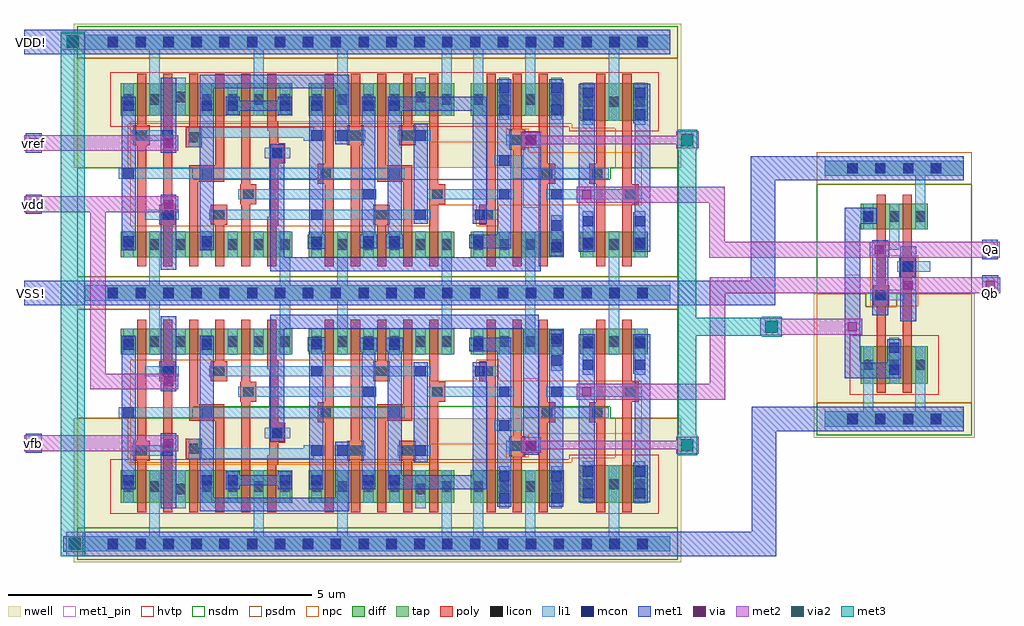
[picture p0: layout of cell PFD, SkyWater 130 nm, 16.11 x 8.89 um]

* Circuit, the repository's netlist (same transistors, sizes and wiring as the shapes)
* +++++++++++++++++++++++++++++++++++++++++++++++++++++ *
* CDL Netlist:                                          *
*                                                       *
* Cell Name  : PFD                                      *
* Netlisted  : Sun Jun 21 17:42:44 2026                 *
* PVS Version: 16.10-p006 Thu Jul 27 18:05:02 PDT 2017 *
* +++++++++++++++++++++++++++++++++++++++++++++++++++++ *
*.LDD
*.DEVTMPLT 0 R(res_generic_m1) met1_res met1(P) met1(N)
*.DEVTMPLT 1 R(res_generic_m2) met2_res met2(P) met2(N)
*.DEVTMPLT 2 R(res_generic_m3) met3_res met3(P) met3(N)
*.DEVTMPLT 3 R(res_generic_m4) met4_res met4(P) met4(N)
*.DEVTMPLT 4 R(res_generic_m5) met5_res met5(P) met5(N)
*.DEVTMPLT 5 D(diode_pd2nw_05v5) diode_pd2nw_05v5_rec psd(PLUS) nwell(MINUS)
*.DEVTMPLT 6 D(diode_pd2nw_05v5_hvt) diode_pd2nw_05v5_hvt_rec psd(PLUS) nwell(MINUS)
*.DEVTMPLT 7 D(diode_pd2nw_05v5_lvt) diode_pd2nw_05v5_lvt_rec psd(PLUS) nwell(MINUS)
*.DEVTMPLT 8 D(diode_pd2nw_11v0) diode_pd2nw_11v0_rec psd(PLUS) nwell(MINUS)
*.DEVTMPLT 9 D(diode_pw2nd_05v5) diode_pw2nd_05v5_rec pwell_all(PLUS) nsd(MINUS)
*.DEVTMPLT 10 D(diode_pw2nd_05v5_lvt) diode_pw2nd_05v5_lvt_rec pwell_all(PLUS) nsd(MINUS)
*.DEVTMPLT 11 D(diode_pw2nd_05v5_nvt) diode_pw2nd_05v5_nvt_rec pwell_all(PLUS) nsd(MINUS)
*.DEVTMPLT 12 D(diode_pw2nd_11v0) diode_pw2nd_11v0_rec pwell_all(PLUS) nsd(MINUS)
*.DEVTMPLT 0 R(RES_GENERIC_ND) diff_res np_term(P) np_term(N)
*.DEVTMPLT 1 R(RES_GENERIC_PD) diff_res pp_term(P) pp_term(N)
*.DEVTMPLT 15 MN(nfet_01v8) nfet_01v8_rec nSourceDrain(D) nfet(G) nSourceDrain(S) pwell_all(B)
*.DEVTMPLT 16 MP(pfet_01v8) pfet_01v8_rec pSourceDrain(D) pfet(G) pSourceDrain(S) nwell(B)
*.DEVTMPLT 17 MP(pfet_01v8_lvt) lvtpfet_01v8_rec pSourceDrain(D) lvtpfet(G) pSourceDrain(S) nwell(B)
*.DEVTMPLT 18 MN(nfet_01v8_lvt) lvtnfet_01v8_rec nSourceDrain(D) lvtnfet(G) nSourceDrain(S) pwell_all(B)
*.DEVTMPLT 19 MP(pfet_01v8_hvt) hvtpfet_01v8_rec pSourceDrain(D) hvtpfet(G) pSourceDrain(S) nwell(B)
*.DEVTMPLT 20 MN(nfet_03v3_nvt) HV_ngate_3v3 HV_source_drain(D) HV_FET_gate(G) HV_source_drain(S) pwell_all(B)
*.DEVTMPLT 21 MN(nfet_05v0_nvt) HV_ngate_5v0 HV_source_drain(D) HV_FET_gate(G) HV_source_drain(S) pwell_all(B)
*.DEVTMPLT 22 MN(nfet_g5v0d10v5) HV_ngate_5v10v HV_source_drain(D) HV_FET_gate(G) HV_source_drain(S) pwell_all(B)
*.DEVTMPLT 23 MP(pfet_g5v0d10v5) HV_pgate_5v10v HV_source_drain(D) HV_FET_gate(G) HV_source_drain(S) nwell(B)
*.DEVTMPLT 24 MN(nfet_20v0) nfet_v20_rec nfet_v20_drain(D) nfet_v20_gate(G) nfet_v20_source(S) pwell_all(B)
*.DEVTMPLT 25 MN(nfet_20v0_zvt) nfet_v20_zvt_rec nfet_v20_drain(D) nfet_v20_gate(G) nfet_v20_source(S) pwell_all(B)
*.DEVTMPLT 26 MP(pfet_20v0) pfet_v20_rec pfet_v20_drain(D) pfet_v20_gate(G) pfet_v20_source(S) nwell(B)
*.DEVTMPLT 27 Q(npn_05v5) npn_rec npnC(C) npnB(B) npnE(E) pwell_all(BN)
*.DEVTMPLT 28 Q(npn_11v0) hvnpn_rec npnC(C) npnB(B) hvnpnE(E) pwell_all(BN)
*.DEVTMPLT 29 Q(pnp_05v5) pnp_rec pnpC(C) pnpB(B) pnpE(E) pwell_all(BN)
*.DEVTMPLT 30 R(res_high_po_0p35) res_high_po_0p35_rec prec_resistor_term(PLUS) prec_resistor_term(MINUS) pwell_all(B)
*.DEVTMPLT 31 R(res_high_po_0p69) res_high_po_0p69_rec prec_resistor_term(PLUS) prec_resistor_term(MINUS) pwell_all(B)
*.DEVTMPLT 32 R(res_high_po_1p41) res_high_po_1p41_rec prec_resistor_term(PLUS) prec_resistor_term(MINUS) pwell_all(B)
*.DEVTMPLT 33 R(res_high_po_2p85) res_high_po_2p85_rec prec_resistor_term(PLUS) prec_resistor_term(MINUS) pwell_all(B)
*.DEVTMPLT 34 R(res_high_po_5p73) res_high_po_5p73_rec prec_resistor_term(PLUS) prec_resistor_term(MINUS) pwell_all(B)
*.DEVTMPLT 35 R(res_xhigh_po_0p35) res_xhigh_po_0p35_rec prec_resistor_term(PLUS) prec_resistor_term(MINUS) pwell_all(B)
*.DEVTMPLT 36 R(res_xhigh_po_0p69) res_xhigh_po_0p69_rec prec_resistor_term(PLUS) prec_resistor_term(MINUS) pwell_all(B)
*.DEVTMPLT 37 R(res_xhigh_po_1p41) res_xhigh_po_1p41_rec prec_resistor_term(PLUS) prec_resistor_term(MINUS) pwell_all(B)
*.DEVTMPLT 38 R(res_xhigh_po_2p85) res_xhigh_po_2p85_rec prec_resistor_term(PLUS) prec_resistor_term(MINUS) pwell_all(B)
*.DEVTMPLT 39 R(res_xhigh_po_5p73) res_xhigh_po_5p73_rec prec_resistor_term(PLUS) prec_resistor_term(MINUS) pwell_all(B)
*.DEVTMPLT 40 C(cap_mim_m3__base) capacitor top_plate(PLUS) bottom_plate(MINUS)

* +++++++++++++++++++++++++++++++++++++++++++++++++++++ *
* Sub cell: DFFRX1_LP                                   *
* +++++++++++++++++++++++++++++++++++++++++++++++++++++ *
.subckt DFFRX1_LP CK RN D VDD VSS Q QN
** N=120 EP=7 FDC=32
M0 VSS CK 48 VSS nfet_01v8 L=1.5e-07 W=4.2e-07 $X=860 $Y=590 $dt=15
M1 28 D VSS VSS nfet_01v8 L=1.5e-07 W=4.2e-07 $X=1290 $Y=590 $dt=15
M2 50 48 28 VSS nfet_01v8 L=1.5e-07 W=4.2e-07 $X=1720 $Y=590 $dt=15
M3 32 42 50 VSS nfet_01v8 L=1.5e-07 W=4.2e-07 $X=2150 $Y=590 $dt=15
M4 34 45 32 VSS nfet_01v8 L=1.5e-07 W=4.2e-07 $X=2580 $Y=590 $dt=15
M5 VSS RN 34 VSS nfet_01v8 L=1.5e-07 W=4.2e-07 $X=3010 $Y=590 $dt=15
M6 VSS 48 42 VSS nfet_01v8 L=1.5e-07 W=4.2e-07 $X=3960 $Y=590 $dt=15
M7 45 50 VSS VSS nfet_01v8 L=1.5e-07 W=4.2e-07 $X=4390 $Y=590 $dt=15
M8 56 42 45 VSS nfet_01v8 L=1.5e-07 W=4.2e-07 $X=4820 $Y=590 $dt=15
M9 36 48 56 VSS nfet_01v8 L=1.5e-07 W=4.2e-07 $X=5250 $Y=590 $dt=15
M10 VSS 54 36 VSS nfet_01v8 L=1.5e-07 W=4.2e-07 $X=5680 $Y=590 $dt=15
M11 66 56 54 VSS nfet_01v8 L=1.5e-07 W=4.2e-07 $X=6630 $Y=590 $dt=15
M12 VSS RN 66 VSS nfet_01v8 L=1.5e-07 W=4.2e-07 $X=7060 $Y=590 $dt=15
M13 61 54 VSS VSS nfet_01v8 L=1.5e-07 W=4.2e-07 $X=7490 $Y=590 $dt=15
M14 VSS 54 Q VSS nfet_01v8 L=1.5e-07 W=4.2e-07 $X=8440 $Y=590 $dt=15
M15 QN 61 VSS VSS nfet_01v8 L=1.5e-07 W=4.2e-07 $X=8870 $Y=590 $dt=15
M16 VDD CK 48 VDD pfet_01v8_hvt L=1.5e-07 W=5.4e-07 $X=860 $Y=2925 $dt=19
M17 30 D VDD VDD pfet_01v8_hvt L=1.5e-07 W=5.4e-07 $X=1290 $Y=2925 $dt=19
M18 50 42 30 VDD pfet_01v8_hvt L=1.5e-07 W=5.4e-07 $X=1720 $Y=2925 $dt=19
M19 65 48 50 VDD pfet_01v8_hvt L=1.5e-07 W=5.4e-07 $X=2150 $Y=2925 $dt=19
M20 VDD 45 65 VDD pfet_01v8_hvt L=1.5e-07 W=5.4e-07 $X=2580 $Y=2925 $dt=19
M21 65 RN VDD VDD pfet_01v8_hvt L=1.5e-07 W=5.4e-07 $X=3010 $Y=2925 $dt=19
M22 VDD 48 42 VDD pfet_01v8_hvt L=1.5e-07 W=5.4e-07 $X=3960 $Y=2925 $dt=19
M23 45 50 VDD VDD pfet_01v8_hvt L=1.5e-07 W=5.4e-07 $X=4390 $Y=2925 $dt=19
M24 56 48 45 VDD pfet_01v8_hvt L=1.5e-07 W=5.4e-07 $X=4820 $Y=2925 $dt=19
M25 38 42 56 VDD pfet_01v8_hvt L=1.5e-07 W=5.4e-07 $X=5250 $Y=2925 $dt=19
M26 VDD 54 38 VDD pfet_01v8_hvt L=1.5e-07 W=5.4e-07 $X=5680 $Y=2925 $dt=19
M27 54 56 VDD VDD pfet_01v8_hvt L=1.5e-07 W=5.4e-07 $X=6630 $Y=2925 $dt=19
M28 VDD RN 54 VDD pfet_01v8_hvt L=1.5e-07 W=5.4e-07 $X=7060 $Y=2925 $dt=19
M29 61 54 VDD VDD pfet_01v8_hvt L=1.5e-07 W=5.4e-07 $X=7490 $Y=2925 $dt=19
M30 VDD 54 Q VDD pfet_01v8_hvt L=1.5e-07 W=6.2e-07 $X=8440 $Y=2845 $dt=19
M31 QN 61 VDD VDD pfet_01v8_hvt L=1.5e-07 W=6.2e-07 $X=8870 $Y=2845 $dt=19
.ends DFFRX1_LP

* +++++++++++++++++++++++++++++++++++++++++++++++++++++ *
* Sub cell: NAND2X1_LP                                  *
* +++++++++++++++++++++++++++++++++++++++++++++++++++++ *
.subckt NAND2X1_LP A B Y VDD VSS
** N=22 EP=5 FDC=4
M0 8 A VSS VSS nfet_01v8 L=1.5e-07 W=4.2e-07 $X=860 $Y=590 $dt=15
M1 Y B 8 VSS nfet_01v8 L=1.5e-07 W=4.2e-07 $X=1290 $Y=590 $dt=15
M2 Y A VDD VDD pfet_01v8_hvt L=1.5e-07 W=6.2e-07 $X=860 $Y=2935 $dt=19
M3 VDD B Y VDD pfet_01v8_hvt L=1.5e-07 W=6.2e-07 $X=1290 $Y=2935 $dt=19
.ends NAND2X1_LP

* +++++++++++++++++++++++++++++++++++++++++++++++++++++ *
* Sub cell: PFD                                         *
* +++++++++++++++++++++++++++++++++++++++++++++++++++++ *
.subckt PFD Qa Qb VDD! VSS! vdd vfb vref
** N=30 EP=7 FDC=68
X17 vfb 4 vdd VDD! VSS! Qb 9 DFFRX1_LP $T=1005 6970 1 0 $X=825 $Y=2525
X18 vref 4 vdd VDD! VSS! Qa 30 DFFRX1_LP $T=1005 6970 0 0 $X=825 $Y=6705
X19 Qb Qa 4 VDD! VSS! NAND2X1_LP $T=15510 9030 0 180 $X=13030 $Y=4585
.ends PFD

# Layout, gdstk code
from math import pi, radians
import gdstk
lib = gdstk.Library(unit=1e-6, precision=1e-09)
def R(c, l, rs):  # rectangles x0, y0, x1, y1
    for r in rs: c.add(gdstk.rectangle(r[:2], r[2:], *l))
def A(c, l, x, y, w, h, nx, ny, dx, dy):  # array of equal rectangles
    R(c, l, [(x+i*dx, y+j*dy, x+i*dx+w, y+j*dy+h) for i in range(nx) for j in range(ny)])
def P(c, l, *ps):  # polygons
    for p in ps: c.add(gdstk.Polygon(p, *l))
nwell = (64, 20)
diff = (65, 20)
tap = (65, 44)
poly = (66, 20)
licon = (66, 44)
li1 = (67, 20)
mcon = (67, 44)
met1_pin = (68, 16)
met1 = (68, 20)
via = (68, 44)
met2 = (69, 20)
via2 = (69, 44)
met3 = (70, 20)
hvtp = (78, 44)
nsdm = (93, 44)
psdm = (94, 20)
npc = (95, 20)

licondiff_c__9 = lib.new_cell('LICONDIFF_C$$9')
R(licondiff_c__9, diff, [(-0.125,-0.145,0.125,0.145)])
R(licondiff_c__9, licon, [(-0.085,-0.085,0.085,0.085), (-0.085,-0.085,0.085,0.085)])

pyl1con_c__10 = lib.new_cell('PYL1CON_C$$10')
R(pyl1con_c__10, poly, [(-0.135,-0.165,0.135,0.165)])
R(pyl1con_c__10, licon, [(-0.085,-0.085,0.085,0.085)])
R(pyl1con_c__10, npc, [(-0.185,-0.185,0.185,0.185)])

pyl1con_c__11 = lib.new_cell('PYL1CON_C$$11')
R(pyl1con_c__11, poly, [(-0.135,-0.29,0.135,0.29)])
R(pyl1con_c__11, licon, [(-0.085,-0.085,0.085,0.085)])
R(pyl1con_c__11, npc, [(-0.185,-0.185,0.185,0.185)])

l1m1_c__12 = lib.new_cell('L1M1_C$$12')
R(l1m1_c__12, li1, [(-0.165,-0.085,0.085,0.085)])
R(l1m1_c__12, mcon, [(-0.085,-0.085,0.085,0.085)])
R(l1m1_c__12, met1, [(-0.115,-0.145,0.115,0.145)])

l1m1_c__13 = lib.new_cell('L1M1_C$$13')
R(l1m1_c__13, li1, [(-0.125,-0.085,0.125,0.085)])
R(l1m1_c__13, mcon, [(-0.085,-0.085,0.085,0.085)])
R(l1m1_c__13, met1, [(-0.115,-0.145,0.115,0.145)])

l1m1_c__14 = lib.new_cell('L1M1_C$$14')
R(l1m1_c__14, li1, [(-0.085,-0.165,0.085,0.165)])
R(l1m1_c__14, mcon, [(-0.085,-0.085,0.085,0.085)])
R(l1m1_c__14, met1, [(-0.145,-0.115,0.145,0.115)])

l1m1_c__15 = lib.new_cell('L1M1_C$$15')
R(l1m1_c__15, li1, [(-0.085,-0.165,0.085,0.165)])
R(l1m1_c__15, mcon, [(-0.085,-0.085,0.085,0.085)])
R(l1m1_c__15, met1, [(-0.115,-0.145,0.115,0.145)])

l1m1_c__16 = lib.new_cell('L1M1_C$$16')
R(l1m1_c__16, li1, [(-0.165,-0.085,0.165,0.085)])
R(l1m1_c__16, mcon, [(-0.085,-0.085,0.085,0.085)])
R(l1m1_c__16, met1, [(-0.115,-0.145,0.115,0.145)])

l1m1_c__17 = lib.new_cell('L1M1_C$$17')
R(l1m1_c__17, li1, [(-0.085,-0.085,0.085,0.085)])
R(l1m1_c__17, mcon, [(-0.085,-0.085,0.085,0.085)])
R(l1m1_c__17, met1, [(-0.115,-0.145,0.115,0.145)])

l1m1_c__18 = lib.new_cell('L1M1_C$$18')
R(l1m1_c__18, li1, [(-0.085,-0.345,0.085,0.345)])
R(l1m1_c__18, mcon, [(-0.085,-0.265,0.085,-0.095), (-0.085,0.095,0.085,0.265)])
R(l1m1_c__18, met1, [(-0.115,-0.325,0.115,0.325)])

dffrx1_lp = lib.new_cell('DFFRX1_LP')
R(dffrx1_lp, nwell, [(-0.18,2.07,9.84,4.445)])
R(dffrx1_lp, diff, [(0.595,0.59,3.425,1.01), (3.695,0.59,6.095,1.01), (6.365,0.59,7.905,1.01), (8.175,0.59,9.285,1.01), (8.175,2.845,9.285,3.465), (0.595,2.925,3.425,3.465), (3.695,2.925,6.095,3.465), (6.365,2.925,7.905,3.465)])
A(dffrx1_lp, poly, 6.63, 0.44, 0.15, 3.175, 3, 1, 0.43, 0)
R(dffrx1_lp, poly, [(0.86,0.44,1.01,3.615), (1.29,0.44,1.44,3.615), (2.15,0.44,2.3,1.16), (2.58,0.44,2.73,3.615), (3.96,0.44,4.11,3.615), (4.39,0.44,4.54,3.615), (4.82,0.44,4.97,1.16), (5.68,0.44,5.83,3.615), (8.44,0.44,8.59,3.615), (8.87,0.44,9.02,3.615), (1.72,2.6,1.87,3.615), (5.25,2.6,5.4,3.615)])
P(dffrx1_lp, poly, [(2.3,3.615),(2.15,3.615),(2.15,2.045),(1.72,2.045),(1.72,0.44),(1.87,0.44),(1.87,1.895),(2.3,1.895)],
  [(3.19,2.83),(3.16,2.83),(3.16,3.615),(3.01,3.615),(3.01,2.68),(3.04,2.68),(3.04,1.26),(3.01,1.26),(3.01,0.44),(3.16,0.44),(3.16,1.11),(3.19,1.11)],
  [(5.4,2.045),(4.97,2.045),(4.97,3.615),(4.82,3.615),(4.82,1.895),(5.25,1.895),(5.25,0.44),(5.4,0.44)])
A(dffrx1_lp, licon, 0.375, -0.085, 0.17, 0.17, 20, 2, 0.46, 4.14)
A(dffrx1_lp, licon, 3.735, 0.715, 0.17, 0.17, 4, 2, 0.43, 2.395)
A(dffrx1_lp, licon, 6.405, 0.715, 0.17, 0.17, 4, 2, 0.43, 2.395)
A(dffrx1_lp, licon, 8.215, 0.715, 0.17, 0.17, 3, 2, 0.43, 2.355)
A(dffrx1_lp, licon, 1.925, 3.11, 0.17, 0.17, 4, 1, 0.43, 0)
R(dffrx1_lp, licon, [(0.635,0.715,0.805,0.885), (1.065,0.715,1.235,0.885), (1.925,0.715,2.095,0.885), (3.215,0.715,3.385,0.885), (5.885,0.715,6.055,0.885), (0.635,3.11,0.805,3.28), (1.065,3.11,1.235,3.28), (5.885,3.11,6.055,3.28)])
R(dffrx1_lp, li1, [(0.635,0.59,0.805,1.01), (1.925,0.59,2.095,1.01), (3.735,0.59,3.905,1.01), (4.595,0.59,4.765,1.01), (5.025,0.59,5.195,1.01), (6.405,0.59,6.575,1.01), (6.835,0.59,7.005,1.01), (7.695,0.59,7.865,1.01), (8.215,0.59,8.385,1.01), (9.075,0.59,9.245,1.01), (8.215,2.845,8.385,3.465), (9.075,2.845,9.245,3.465), (0.635,2.925,0.805,3.465), (1.925,2.925,2.095,3.465), (2.355,2.925,2.525,3.465), (3.215,2.925,3.385,3.465), (3.735,2.925,3.905,3.465), (4.595,2.925,4.765,3.465), (5.025,2.925,5.195,3.465), (6.835,2.925,7.005,3.465), (7.695,2.925,7.865,3.465)])
P(dffrx1_lp, li1, [(3.82,2.685),(3.78,2.685),(3.78,2.735),(1.71,2.735),(1.71,2.405),(1.88,2.405),(1.88,2.565),(3.61,2.565),(3.61,2.515),(3.82,2.515)],
  [(8.64,2.055),(7.22,2.055),(7.22,2.27),(6.92,2.27),(6.92,2.1),(7.05,2.1),(7.05,1.885),(8.64,1.885)],
  [(9.66,4.265),(0,4.265),(0,4.015),(1.065,4.015),(1.065,2.925),(1.235,2.925),(1.235,4.015),(2.785,4.015),(2.785,2.925),(2.955,2.925),(2.955,4.015),(4.165,4.015),(4.165,2.925),(4.335,2.925),(4.335,4.015),(5.885,4.015),(5.885,2.925),(6.055,2.925),(6.055,4.015),(6.405,4.015),(6.405,2.925),(6.575,2.925),(6.575,4.015),(7.265,4.015),(7.265,2.925),(7.435,2.925),(7.435,4.015),(8.645,4.015),(8.645,2.845),(8.815,2.845),(8.815,4.015),(9.66,4.015)],
  [(9.66,0.125),(8.815,0.125),(8.815,1.015),(8.645,1.015),(8.645,0.125),(7.435,0.125),(7.435,1.01),(7.265,1.01),(7.265,0.125),(6.055,0.125),(6.055,1.015),(5.885,1.015),(5.885,0.125),(4.335,0.125),(4.335,1.015),(4.165,1.015),(4.165,0.125),(3.385,0.125),(3.385,1.015),(3.215,1.015),(3.215,0.125),(1.235,0.125),(1.235,1.015),(1.065,1.015),(1.065,0.125),(0,0.125),(0,-0.125),(9.66,-0.125)])
A(dffrx1_lp, mcon, 0.375, -0.085, 0.17, 0.17, 20, 2, 0.46, 4.14)
R(dffrx1_lp, met1_pin, [(1.25,0.385,1.51,1.625), (8.15,0.68,8.41,3.45), (9.07,0.68,9.33,3.45), (7.23,1.405,7.49,2.645), (1.25,2.315,1.51,3.555)])
P(dffrx1_lp, met1, [(7.49,2.645),(7.23,2.645),(7.23,0.59),(3.29,0.59),(3.29,2.31),(3.06,2.31),(3.06,0.36),(7.49,0.36)])
P(dffrx1_lp, hvtp, [(9.465,3.645),(0.415,3.645),(0.415,2.745),(7.995,2.745),(7.995,2.665),(9.465,2.665)])
R(dffrx1_lp, nsdm, [(-0.125,3.875,9.785,4.405)])
P(dffrx1_lp, nsdm, [(9.785,2.07),(8.67,2.07),(8.67,1.875),(1.78,1.875),(1.78,2.07),(-0.125,2.07),(-0.125,0.265),(9.785,0.265)])
R(dffrx1_lp, psdm, [(-0.125,-0.265,9.785,0.265)])
P(dffrx1_lp, psdm, [(9.785,3.875),(-0.125,3.875),(-0.125,2.07),(0.715,2.07),(0.715,2.795),(8.035,2.795),(8.035,2.715),(8.75,2.715),(8.75,2.07),(9.785,2.07)])
P(dffrx1_lp, npc, [(9.19,2.325),(7.32,2.325),(7.32,2.495),(5.705,2.495),(5.705,2.835),(0.75,2.835),(0.75,1.105),(5.705,1.105),(5.705,1.445),(9.19,1.445)])
dffrx1_lp.add(gdstk.FlexPath([(7.36,2.525),(6.95,2.525)], 0.17, ends="flush", simple_path=True, layer=67, datatype=20))  # li1
dffrx1_lp.add(gdstk.FlexPath([(2.965,2.31),(3.385,2.31)], 0.17, ends="flush", simple_path=True, layer=67, datatype=20))  # li1
dffrx1_lp.add(gdstk.FlexPath([(6.81,1.29),(6.515,1.29)], 0.17, ends="flush", simple_path=True, layer=67, datatype=20))  # li1
dffrx1_lp.add(gdstk.FlexPath([(5.16,2.6),(5.705,2.6)], 0.17, ends="flush", simple_path=True, layer=67, datatype=20))  # li1
dffrx1_lp.add(gdstk.FlexPath([(2.53,1.63),(4.805,1.63)], 0.17, ends="flush", simple_path=True, layer=67, datatype=20))  # li1
dffrx1_lp.add(gdstk.FlexPath([(2.87,0.59),(2.87,1.015)], 0.17, ends="flush", simple_path=True, layer=67, datatype=20))  # li1
dffrx1_lp.add(gdstk.FlexPath([(1.58,0.59),(1.58,1.015)], 0.17, ends="flush", simple_path=True, layer=67, datatype=20))  # li1
dffrx1_lp.add(gdstk.FlexPath([(1.58,2.925),(1.58,3.55)], 0.17, ends="flush", simple_path=True, layer=67, datatype=20))  # li1
dffrx1_lp.add(gdstk.FlexPath([(4.125,2.6),(4.63,2.6)], 0.17, ends="flush", simple_path=True, layer=67, datatype=20))  # li1
dffrx1_lp.add(gdstk.FlexPath([(2.05,1.29),(5.705,1.29)], 0.17, ends="flush", simple_path=True, layer=67, datatype=20))  # li1
dffrx1_lp.add(gdstk.FlexPath([(0.555,1.97),(5.275,1.97)], 0.17, ends="flush", simple_path=True, layer=67, datatype=20))  # li1
dffrx1_lp.add(gdstk.FlexPath([(2.44,0.59),(2.44,1.015)], 0.17, ends="flush", simple_path=True, layer=67, datatype=20))  # li1
dffrx1_lp.add(gdstk.FlexPath([(5.54,0.59),(5.54,1.015)], 0.17, ends="flush", simple_path=True, layer=67, datatype=20))  # li1
dffrx1_lp.add(gdstk.FlexPath([(5.54,2.925),(5.54,3.55)], 0.17, ends="flush", simple_path=True, layer=67, datatype=20))  # li1
dffrx1_lp.add(gdstk.FlexPath([(0.985,1.29),(1.53,1.29)], 0.17, ends="flush", simple_path=True, layer=67, datatype=20))  # li1
dffrx1_lp.add(gdstk.FlexPath([(0.77,2.6),(1.315,2.6)], 0.17, ends="flush", simple_path=True, layer=67, datatype=20))  # li1
dffrx1_lp.add(gdstk.FlexPath([(6.92,1.63),(5.65,1.63)], 0.17, ends="flush", simple_path=True, layer=67, datatype=20))  # li1
dffrx1_lp.add(gdstk.FlexPath([(7.615,1.63),(9.19,1.63)], 0.17, ends="flush", simple_path=True, layer=67, datatype=20))  # li1
dffrx1_lp.add(gdstk.FlexPath([(0,4.14),(9.66,4.14)], 0.25, ends="flush", simple_path=True, layer=65, datatype=44))  # tap
dffrx1_lp.add(gdstk.FlexPath([(0,0),(9.66,0)], 0.25, ends="flush", simple_path=True, layer=65, datatype=44))  # tap
dffrx1_lp.add(gdstk.FlexPath([(0,4.14),(9.66,4.14)], 0.4, ends="flush", simple_path=True, layer=68, datatype=20))  # met1
dffrx1_lp.add(gdstk.FlexPath([(0,0),(9.66,0)], 0.4, ends="flush", simple_path=True, layer=68, datatype=20))  # met1
dffrx1_lp.add(gdstk.FlexPath([(6.515,1.145),(6.515,3.12),(5.11,3.12),(5.11,0.735)], 0.23, ends="flush", simple_path=True, layer=68, datatype=20))  # met1
dffrx1_lp.add(gdstk.FlexPath([(5.54,1.145),(5.54,2.795)], 0.23, ends="flush", simple_path=True, layer=68, datatype=20))  # met1
dffrx1_lp.add(gdstk.FlexPath([(6.375,0.85),(6.92,0.85),(6.92,3.53)], 0.23, ends="flush", simple_path=True, layer=68, datatype=20))  # met1
dffrx1_lp.add(gdstk.FlexPath([(3.82,0.73),(3.82,3.235)], 0.23, ends="flush", simple_path=True, layer=68, datatype=20))  # met1
dffrx1_lp.add(gdstk.FlexPath([(1.38,1.625),(1.38,0.385)], 0.26, ends="flush", simple_path=True, layer=68, datatype=20))  # met1
dffrx1_lp.add(gdstk.FlexPath([(8.28,3.45),(8.28,0.68)], 0.26, ends="flush", simple_path=True, layer=68, datatype=20))  # met1
dffrx1_lp.add(gdstk.FlexPath([(9.2,3.45),(9.2,0.68)], 0.26, ends="flush", simple_path=True, layer=68, datatype=20))  # met1
dffrx1_lp.add(gdstk.FlexPath([(1.38,2.315),(1.38,3.555)], 0.26, ends="flush", simple_path=True, layer=68, datatype=20))  # met1
dffrx1_lp.add(gdstk.FlexPath([(7.78,0.61),(7.78,3.53)], 0.23, ends="flush", simple_path=True, layer=68, datatype=20))  # met1
dffrx1_lp.add(gdstk.FlexPath([(2.325,3.09),(3.415,3.09)], 0.17, ends="flush", simple_path=True, layer=68, datatype=20))  # met1
dffrx1_lp.add(gdstk.FlexPath([(4.25,2.505),(4.25,3.49),(2.01,3.49),(2.01,0.705)], 0.23, ends="flush", simple_path=True, layer=68, datatype=20))  # met1
dffrx1_lp.add(gdstk.FlexPath([(0.72,0.705),(0.72,3.235)], 0.23, ends="flush", simple_path=True, layer=68, datatype=20))  # met1
dffrx1_lp.add(gdstk.FlexPath([(4.68,0.735),(4.68,3.235)], 0.23, ends="flush", simple_path=True, layer=68, datatype=20))  # met1
dffrx1_lp.add(gdstk.FlexPath([(0,0),(9.66,0)], 0.4, ends="flush", simple_path=True, layer=68, datatype=16))  # met1_pin
dffrx1_lp.add(gdstk.FlexPath([(0,4.14),(9.66,4.14)], 0.4, ends="flush", simple_path=True, layer=68, datatype=16))  # met1_pin
dffrx1_lp.add(gdstk.Reference(licondiff_c__9, (2.87,0.8)))
dffrx1_lp.add(gdstk.Reference(licondiff_c__9, (2.44,0.8)))
dffrx1_lp.add(gdstk.Reference(licondiff_c__9, (1.58,0.8)))
dffrx1_lp.add(gdstk.Reference(licondiff_c__9, (1.58,3.235)))
dffrx1_lp.add(gdstk.Reference(licondiff_c__9, (5.54,3.235)))
dffrx1_lp.add(gdstk.Reference(licondiff_c__9, (5.54,0.8)))
dffrx1_lp.add(gdstk.Reference(pyl1con_c__10, (4.465,2.6), rotation=pi))
dffrx1_lp.add(gdstk.Reference(pyl1con_c__10, (6.645,1.29)))
dffrx1_lp.add(gdstk.Reference(pyl1con_c__10, (7.135,2.525)))
dffrx1_lp.add(gdstk.Reference(pyl1con_c__10, (5.325,2.6), rotation=pi))
dffrx1_lp.add(gdstk.Reference(pyl1con_c__10, (1.795,2.57), rotation=pi))
dffrx1_lp.add(gdstk.Reference(pyl1con_c__10, (2.215,1.29), x_reflection=True))
dffrx1_lp.add(gdstk.Reference(pyl1con_c__10, (4.895,1.29), x_reflection=True))
dffrx1_lp.add(gdstk.Reference(pyl1con_c__10, (5.815,1.63), rotation=pi, x_reflection=True))
dffrx1_lp.add(gdstk.Reference(pyl1con_c__10, (3.975,1.97), rotation=pi, x_reflection=True))
dffrx1_lp.add(gdstk.Reference(pyl1con_c__10, (1.365,1.29), x_reflection=True))
dffrx1_lp.add(gdstk.Reference(pyl1con_c__10, (0.935,2.6), rotation=pi))
dffrx1_lp.add(gdstk.Reference(pyl1con_c__10, (3.175,2.31), x_reflection=True))
dffrx1_lp.add(gdstk.Reference(pyl1con_c__10, (2.695,1.63), rotation=pi))
dffrx1_lp.add(gdstk.Reference(pyl1con_c__10, (8.455,1.97), rotation=pi, x_reflection=True))
dffrx1_lp.add(gdstk.Reference(pyl1con_c__10, (7.625,1.97), rotation=pi, x_reflection=True))
dffrx1_lp.add(gdstk.Reference(pyl1con_c__10, (9.005,1.63), rotation=pi, x_reflection=True))
dffrx1_lp.add(gdstk.Reference(pyl1con_c__11, (5.11,1.97), rotation=pi/2))
dffrx1_lp.add(gdstk.Reference(pyl1con_c__11, (2.01,1.97), rotation=pi/2, x_reflection=True))
dffrx1_lp.add(gdstk.Reference(l1m1_c__12, (1.365,2.6), x_reflection=True))
dffrx1_lp.add(gdstk.Reference(l1m1_c__13, (4.25,2.6), rotation=pi, x_reflection=True))
dffrx1_lp.add(gdstk.Reference(l1m1_c__13, (3.175,2.31), rotation=pi, x_reflection=True))
dffrx1_lp.add(gdstk.Reference(l1m1_c__13, (3.82,2.6), rotation=pi, x_reflection=True))
dffrx1_lp.add(gdstk.Reference(l1m1_c__13, (4.68,1.63)))
dffrx1_lp.add(gdstk.Reference(l1m1_c__14, (5.11,0.85), rotation=pi, x_reflection=True))
dffrx1_lp.add(gdstk.Reference(l1m1_c__14, (4.68,0.85), rotation=pi, x_reflection=True))
dffrx1_lp.add(gdstk.Reference(l1m1_c__14, (3.82,0.845), rotation=pi, x_reflection=True))
dffrx1_lp.add(gdstk.Reference(l1m1_c__14, (6.49,0.85)))
dffrx1_lp.add(gdstk.Reference(l1m1_c__15, (2.01,0.85), rotation=pi, x_reflection=True))
dffrx1_lp.add(gdstk.Reference(l1m1_c__15, (2.01,3.09), rotation=pi, x_reflection=True))
dffrx1_lp.add(gdstk.Reference(l1m1_c__15, (5.11,3.09), rotation=pi, x_reflection=True))
dffrx1_lp.add(gdstk.Reference(l1m1_c__15, (4.68,3.09), rotation=pi, x_reflection=True))
dffrx1_lp.add(gdstk.Reference(l1m1_c__15, (3.82,3.09), rotation=pi, x_reflection=True))
dffrx1_lp.add(gdstk.Reference(l1m1_c__15, (3.3,3.09), rotation=pi, x_reflection=True))
dffrx1_lp.add(gdstk.Reference(l1m1_c__15, (0.72,0.85), rotation=pi, x_reflection=True))
dffrx1_lp.add(gdstk.Reference(l1m1_c__15, (0.72,3.09), rotation=pi, x_reflection=True))
dffrx1_lp.add(gdstk.Reference(l1m1_c__15, (2.44,3.09), rotation=pi, x_reflection=True))
dffrx1_lp.add(gdstk.Reference(l1m1_c__16, (5.54,2.6)))
dffrx1_lp.add(gdstk.Reference(l1m1_c__16, (5.54,1.29)))
dffrx1_lp.add(gdstk.Reference(l1m1_c__16, (3.82,1.29)))
dffrx1_lp.add(gdstk.Reference(l1m1_c__16, (6.92,1.63)))
dffrx1_lp.add(gdstk.Reference(l1m1_c__16, (7.36,2.525)))
dffrx1_lp.add(gdstk.Reference(l1m1_c__16, (1.38,1.29)))
dffrx1_lp.add(gdstk.Reference(l1m1_c__16, (0.72,1.97), rotation=pi, x_reflection=True))
dffrx1_lp.add(gdstk.Reference(l1m1_c__16, (6.92,2.185)))
dffrx1_lp.add(gdstk.Reference(l1m1_c__16, (7.78,1.63), x_reflection=True))
dffrx1_lp.add(gdstk.Reference(l1m1_c__17, (6.515,1.29)))
dffrx1_lp.add(gdstk.Reference(l1m1_c__18, (6.92,3.205), rotation=pi, x_reflection=True))
dffrx1_lp.add(gdstk.Reference(l1m1_c__18, (7.78,0.935)))
dffrx1_lp.add(gdstk.Reference(l1m1_c__18, (7.78,3.205), rotation=pi, x_reflection=True))
dffrx1_lp.add(gdstk.Reference(l1m1_c__18, (8.3,1.005)))
dffrx1_lp.add(gdstk.Reference(l1m1_c__18, (8.3,3.125)))
dffrx1_lp.add(gdstk.Reference(l1m1_c__18, (9.16,1.005)))
dffrx1_lp.add(gdstk.Reference(l1m1_c__18, (9.16,3.125)))
dffrx1_lp.add(gdstk.Label('RN', (7.375,2.055), layer=68, texttype=5))
dffrx1_lp.add(gdstk.Label('D', (1.395,1.035), layer=68, texttype=5))
dffrx1_lp.add(gdstk.Label('Q', (8.295,2.055), layer=68, texttype=5))
dffrx1_lp.add(gdstk.Label('QN', (9.215,2.055), layer=68, texttype=5))
dffrx1_lp.add(gdstk.Label('VSS', (5.545,0.005), layer=68, texttype=5))
dffrx1_lp.add(gdstk.Label('CK', (1.395,2.91), layer=68, texttype=5))
dffrx1_lp.add(gdstk.Label('VDD', (5.285,4.145), layer=68, texttype=5))

l1m1_c__19 = lib.new_cell('L1M1_C$$19')
R(l1m1_c__19, li1, [(-0.085,-0.165,0.085,0.165)])
R(l1m1_c__19, mcon, [(-0.085,-0.085,0.085,0.085)])
R(l1m1_c__19, met1, [(-0.145,-0.145,0.115,0.115)])

nand2x1_lp = lib.new_cell('NAND2X1_LP')
R(nand2x1_lp, nwell, [(-0.18,2.07,2.48,4.445)])
R(nand2x1_lp, diff, [(0.595,0.59,1.705,1.01), (0.595,2.935,1.705,3.555)])
R(nand2x1_lp, poly, [(0.86,0.44,1.01,3.705), (1.29,0.44,1.44,3.705)])
A(nand2x1_lp, licon, 0.375, -0.085, 0.17, 0.17, 4, 2, 0.46, 4.14)
A(nand2x1_lp, licon, 0.635, 0.715, 0.17, 0.17, 3, 2, 0.43, 2.445)
R(nand2x1_lp, li1, [(1.495,0.59,1.665,1.01), (1.065,2.935,1.235,3.555)])
P(nand2x1_lp, li1, [(2.3,4.265),(0,4.265),(0,4.015),(0.635,4.015),(0.635,2.935),(0.805,2.935),(0.805,4.015),(1.495,4.015),(1.495,2.935),(1.665,2.935),(1.665,4.015),(2.3,4.015)],
  [(2.3,0.125),(0.805,0.125),(0.805,1.01),(0.635,1.01),(0.635,0.125),(0,0.125),(0,-0.125),(2.3,-0.125)])
A(nand2x1_lp, mcon, 0.375, -0.085, 0.17, 0.17, 4, 2, 0.46, 4.14)
R(nand2x1_lp, met1_pin, [(1.25,1.19,1.51,2.43), (0.79,1.29,1.05,2.53), (1.71,1.76,1.97,3.47)])
R(nand2x1_lp, hvtp, [(0.415,2.755,1.885,3.735)])
R(nand2x1_lp, nsdm, [(-0.125,3.875,2.425,4.405)])
P(nand2x1_lp, nsdm, [(2.425,2.07),(1.62,2.07),(1.62,2.29),(1.11,2.29),(1.11,2.07),(-0.125,2.07),(-0.125,0.265),(2.425,0.265)])
R(nand2x1_lp, psdm, [(-0.125,-0.265,2.425,0.265)])
P(nand2x1_lp, psdm, [(2.425,3.875),(-0.125,3.875),(-0.125,2.07),(1.11,2.07),(1.11,2.29),(1.62,2.29),(1.62,2.07),(2.425,2.07)])
R(nand2x1_lp, npc, [(0.75,1.44,1.55,2.28)])
nand2x1_lp.add(gdstk.FlexPath([(1.15,1.35),(1.15,0.59)], 0.17, ends="flush", simple_path=True, layer=67, datatype=20))  # li1
nand2x1_lp.add(gdstk.FlexPath([(0.985,2.095),(1.53,2.095)], 0.17, ends="flush", simple_path=True, layer=67, datatype=20))  # li1
nand2x1_lp.add(gdstk.FlexPath([(0.555,1.625),(1.1,1.625)], 0.17, ends="flush", simple_path=True, layer=67, datatype=20))  # li1
nand2x1_lp.add(gdstk.FlexPath([(1.695,0.785),(1.84,0.785),(1.84,3.34),(1.265,3.34)], 0.26, ends="flush", simple_path=True, layer=68, datatype=20))  # met1
nand2x1_lp.add(gdstk.FlexPath([(0,0),(2.3,0)], 0.4, ends="flush", simple_path=True, layer=68, datatype=20))  # met1
nand2x1_lp.add(gdstk.FlexPath([(0,4.14),(2.3,4.14)], 0.4, ends="flush", simple_path=True, layer=68, datatype=20))  # met1
nand2x1_lp.add(gdstk.FlexPath([(0.92,1.29),(0.92,2.53)], 0.26, ends="flush", simple_path=True, layer=68, datatype=20))  # met1
nand2x1_lp.add(gdstk.FlexPath([(1.38,2.43),(1.38,1.19)], 0.26, ends="flush", simple_path=True, layer=68, datatype=20))  # met1
nand2x1_lp.add(gdstk.FlexPath([(0,4.14),(2.3,4.14)], 0.4, ends="flush", simple_path=True, layer=68, datatype=16))  # met1_pin
nand2x1_lp.add(gdstk.FlexPath([(0,0),(2.3,0)], 0.4, ends="flush", simple_path=True, layer=68, datatype=16))  # met1_pin
nand2x1_lp.add(gdstk.FlexPath([(0,0),(2.3,0)], 0.25, ends="flush", simple_path=True, layer=65, datatype=44))  # tap
nand2x1_lp.add(gdstk.FlexPath([(0,4.14),(2.3,4.14)], 0.25, ends="flush", simple_path=True, layer=65, datatype=44))  # tap
nand2x1_lp.add(gdstk.Reference(l1m1_c__19, (1.58,0.8)))
nand2x1_lp.add(gdstk.Reference(l1m1_c__18, (1.15,3.145)))
nand2x1_lp.add(gdstk.Reference(pyl1con_c__10, (0.935,1.625), rotation=pi, x_reflection=True))
nand2x1_lp.add(gdstk.Reference(pyl1con_c__10, (1.365,2.095), rotation=pi, x_reflection=True))
nand2x1_lp.add(gdstk.Reference(l1m1_c__16, (1.38,2.095)))
nand2x1_lp.add(gdstk.Reference(l1m1_c__16, (0.92,1.625), x_reflection=True))
nand2x1_lp.add(gdstk.Label('VSS', (1.335,0.005), layer=68, texttype=5))
nand2x1_lp.add(gdstk.Label('VDD', (1.38,4.145), layer=68, texttype=5))
nand2x1_lp.add(gdstk.Label('B', (1.395,1.84), layer=68, texttype=5))
nand2x1_lp.add(gdstk.Label('A', (0.935,1.885), layer=68, texttype=5))
nand2x1_lp.add(gdstk.Label('Y', (1.855,2.355), layer=68, texttype=5))

m1m2_c__1 = lib.new_cell('M1M2_C$$1')
R(m1m2_c__1, met1, [(-0.13,-0.16,0.13,0.16)])
R(m1m2_c__1, via, [(-0.075,-0.075,0.075,0.075)])
R(m1m2_c__1, met2, [(-0.16,-0.13,0.16,0.13)])

m1m2_c__2 = lib.new_cell('M1M2_C$$2')
R(m1m2_c__2, met1, [(-0.16,-2.165,0.16,0.135)])
R(m1m2_c__2, via, [(-0.075,-0.075,0.075,0.075)])
R(m1m2_c__2, met2, [(-0.16,-0.13,0.16,0.13)])

m1m2_c__3 = lib.new_cell('M1M2_C$$3')
R(m1m2_c__3, met1, [(-0.16,-0.13,0.16,0.13)])
R(m1m2_c__3, via, [(-0.075,-0.075,0.075,0.075)])
R(m1m2_c__3, met2, [(-0.16,-0.13,0.16,0.13)])

m2m3_c__4 = lib.new_cell('M2M3_C$$4')
R(m2m3_c__4, met2, [(-0.185,-0.14,0.185,0.14)])
R(m2m3_c__4, via2, [(-0.1,-0.1,0.1,0.1)])
R(m2m3_c__4, met3, [(-0.165,-0.165,0.165,0.165)])

m1m2_c__5 = lib.new_cell('M1M2_C$$5')
R(m1m2_c__5, met1, [(-0.13,-0.2,0.13,0.2)])
R(m1m2_c__5, via, [(-0.075,-0.075,0.075,0.075)])
R(m1m2_c__5, met2, [(-0.2,-0.13,0.2,0.13)])

m1m2_c__6 = lib.new_cell('M1M2_C$$6')
R(m1m2_c__6, met1, [(-0.2,-0.13,0.2,0.13)])
R(m1m2_c__6, via, [(-0.075,-0.075,0.075,0.075)])
R(m1m2_c__6, met2, [(-0.13,-0.2,0.13,0.2)])

m2m3_c__7 = lib.new_cell('M2M3_C$$7')
R(m2m3_c__7, met2, [(-0.2,-0.14,0.2,0.14)])
R(m2m3_c__7, via2, [(-0.1,-0.1,0.1,0.1)])
R(m2m3_c__7, met3, [(-0.2,-0.165,0.2,0.165)])

m2m3_c__8 = lib.new_cell('M2M3_C$$8')
R(m2m3_c__8, met2, [(-0.14,-0.2,0.14,0.2)])
R(m2m3_c__8, via2, [(-0.1,-0.1,0.1,0.1)])
R(m2m3_c__8, met3, [(-0.165,-0.2,0.165,0.2)])

pfd = lib.new_cell('PFD')
R(pfd, met1, [(0,6.965,0.11,7.17)])
R(pfd, met2, [(0,4.36,0.065,4.57), (11.315,5.225,11.575,5.485), (11.335,5.345,11.575,5.485)])
pfd.add(gdstk.FlexPath([(14.59,7.1),(15.825,7.1)], 0.26, ends="flush", simple_path=True, layer=69, datatype=20))  # met2
pfd.add(gdstk.FlexPath([(14.115,7.685),(15.94,7.685)], 0.26, ends="flush", simple_path=True, layer=69, datatype=20))  # met2
pfd.add(gdstk.FlexPath([(1.22,5.51),(1.09,5.51)], 0.26, ends=(0.13, 0), simple_path=True, layer=69, datatype=20))  # met2
pfd.add(gdstk.FlexPath([(1.22,8.435),(0.52,8.435)], 0.26, ends="extended", simple_path=True, layer=69, datatype=20))  # met2
pfd.add(gdstk.FlexPath([(1.22,5.51),(1.22,8.435)], 0.26, ends="extended", simple_path=True, layer=69, datatype=20))  # met2
pfd.add(gdstk.FlexPath([(2.385,4.49),(0.16,4.49)], 0.26, ends="flush", simple_path=True, layer=69, datatype=20))  # met2
pfd.add(gdstk.FlexPath([(0.835,2.83),(0.85,2.83)], 0.4, ends="flush", simple_path=True, layer=69, datatype=20))  # met2
pfd.add(gdstk.FlexPath([(0.805,11.11),(0.805,11.12)], 0.4, ends="flush", simple_path=True, layer=69, datatype=20))  # met2
pfd.add(gdstk.FlexPath([(0.52,8.435),(0.52,8.44)], 0.26, ends=(0.13, 0), simple_path=True, layer=69, datatype=20))  # met2
pfd.add(gdstk.FlexPath([(2.385,8.435),(1.22,8.435)], 0.26, ends=(0, 0.13), simple_path=True, layer=69, datatype=20))  # met2
pfd.add(gdstk.FlexPath([(2.385,5.51),(1.22,5.51)], 0.26, ends=(0, 0.13), simple_path=True, layer=69, datatype=20))  # met2
pfd.add(gdstk.FlexPath([(2.385,9.445),(0.16,9.445)], 0.26, ends="flush", simple_path=True, layer=69, datatype=20))  # met2
pfd.add(gdstk.FlexPath([(15.945,7.1),(15.95,7.1)], 0.14, ends="flush", simple_path=True, layer=69, datatype=20))  # met2
pfd.add(gdstk.FlexPath([(12.335,6.415),(12.325,6.415)], 0.26, ends=(0, 0.13), simple_path=True, layer=69, datatype=20))  # met2
pfd.add(gdstk.FlexPath([(8.365,4.46),(11.13,4.46)], 0.14, ends="flush", simple_path=True, layer=69, datatype=20))  # met2
pfd.add(gdstk.FlexPath([(14.59,7.1),(15.945,7.1)], 0.14, ends="flush", simple_path=True, layer=69, datatype=20))  # met2
pfd.add(gdstk.FlexPath([(11.445,7.1),(11.445,5.355)], 0.26, ends="extended", simple_path=True, layer=69, datatype=20))  # met2
pfd.add(gdstk.FlexPath([(12.385,7.1),(11.445,7.1)], 0.26, ends="extended", simple_path=True, layer=69, datatype=20))  # met2
pfd.add(gdstk.FlexPath([(11.435,8.59),(11.435,7.685)], 0.26, ends="extended", simple_path=True, layer=69, datatype=20))  # met2
pfd.add(gdstk.FlexPath([(9.285,5.34),(11.575,5.34)], 0.26, ends="flush", simple_path=True, layer=69, datatype=20))  # met2
pfd.add(gdstk.FlexPath([(12.325,6.415),(12.325,6.4)], 0.26, ends=(0.13, 0), simple_path=True, layer=69, datatype=20))  # met2
pfd.add(gdstk.FlexPath([(13.67,6.415),(12.335,6.415)], 0.26, ends="flush", simple_path=True, layer=69, datatype=20))  # met2
pfd.add(gdstk.FlexPath([(12.385,7.1),(12.385,7.095)], 0.26, ends=(0.13, 0), simple_path=True, layer=69, datatype=20))  # met2
pfd.add(gdstk.FlexPath([(14.59,7.1),(12.385,7.1)], 0.26, ends=(0, 0.13), simple_path=True, layer=69, datatype=20))  # met2
pfd.add(gdstk.FlexPath([(11.435,7.685),(14.115,7.685)], 0.26, ends=(0.13, 0), simple_path=True, layer=69, datatype=20))  # met2
pfd.add(gdstk.FlexPath([(10.945,9.495),(11.13,9.495)], 0.14, ends="flush", simple_path=True, layer=69, datatype=20))  # met2
pfd.add(gdstk.FlexPath([(8.365,9.495),(10.945,9.495)], 0.14, ends="flush", simple_path=True, layer=69, datatype=20))  # met2
pfd.add(gdstk.FlexPath([(15.95,7.1),(15.95,7.02)], 0.14, ends=(0.07, 0), simple_path=True, layer=69, datatype=20))  # met2
pfd.add(gdstk.FlexPath([(9.285,8.59),(11.435,8.59)], 0.26, ends=(0, 0.13), simple_path=True, layer=69, datatype=20))  # met2
pfd.add(gdstk.FlexPath([(11.435,8.59),(11.435,8.65)], 0.26, ends=(0.13, 0), simple_path=True, layer=69, datatype=20))  # met2
pfd.add(gdstk.FlexPath([(0.52,8.435),(0.16,8.435)], 0.26, ends="flush", simple_path=True, layer=69, datatype=20))  # met2
pfd.add(gdstk.FlexPath([(0.805,11.11),(0,11.11)], 0.4, ends="flush", simple_path=True, layer=68, datatype=20))  # met1
pfd.add(gdstk.FlexPath([(1.005,6.97),(0,6.97)], 0.4, ends="flush", simple_path=True, layer=68, datatype=20))  # met1
pfd.add(gdstk.FlexPath([(1.005,11.11),(0.805,11.11)], 0.4, ends="flush", simple_path=True, layer=68, datatype=20))  # met1
pfd.add(gdstk.FlexPath([(12.21,4.89),(13.39,4.89)], 0.4, ends=(0.2, 0), simple_path=True, layer=68, datatype=20))  # met1
pfd.add(gdstk.FlexPath([(12.21,2.83),(12.21,4.89)], 0.4, ends="extended", simple_path=True, layer=68, datatype=20))  # met1
pfd.add(gdstk.FlexPath([(10.665,2.83),(12.21,2.83)], 0.4, ends=(0, 0.2), simple_path=True, layer=68, datatype=20))  # met1
pfd.add(gdstk.FlexPath([(13.28,9.03),(13.28,8.93)], 0.4, ends=(0.2, 0), simple_path=True, layer=68, datatype=20))  # met1
pfd.add(gdstk.FlexPath([(12.195,9.03),(13.28,9.03)], 0.4, ends="extended", simple_path=True, layer=68, datatype=20))  # met1
pfd.add(gdstk.FlexPath([(12.195,6.97),(12.195,9.03)], 0.4, ends="extended", simple_path=True, layer=68, datatype=20))  # met1
pfd.add(gdstk.FlexPath([(10.665,6.97),(12.195,6.97)], 0.4, ends=(0, 0.2), simple_path=True, layer=68, datatype=20))  # met1
pfd.add(gdstk.FlexPath([(2.385,8.595),(2.385,8.435)], 0.26, ends="flush", simple_path=True, layer=68, datatype=20))  # met1
pfd.add(gdstk.FlexPath([(2.385,5.345),(2.385,5.51)], 0.26, ends="flush", simple_path=True, layer=68, datatype=20))  # met1
pfd.add(gdstk.FlexPath([(2.385,9.285),(2.385,9.445)], 0.26, ends="flush", simple_path=True, layer=68, datatype=20))  # met1
pfd.add(gdstk.FlexPath([(13.67,6.41),(13.67,6.415)], 0.26, ends="flush", simple_path=True, layer=68, datatype=20))  # met1
pfd.add(gdstk.FlexPath([(8.365,4.445),(8.365,4.46)], 0.14, ends="flush", simple_path=True, layer=68, datatype=20))  # met1
pfd.add(gdstk.FlexPath([(8.485,9.495),(8.365,9.495)], 0.14, ends="flush", simple_path=True, layer=68, datatype=20))  # met1
pfd.add(gdstk.FlexPath([(9.285,8.595),(9.285,8.59)], 0.26, ends="flush", simple_path=True, layer=68, datatype=20))  # met1
pfd.add(gdstk.FlexPath([(9.285,5.355),(9.285,5.34)], 0.26, ends="flush", simple_path=True, layer=68, datatype=20))  # met1
pfd.add(gdstk.FlexPath([(2.385,4.51),(2.385,4.49)], 0.26, ends="flush", simple_path=True, layer=68, datatype=20))  # met1
pfd.add(gdstk.FlexPath([(14.13,7.685),(14.115,7.685)], 0.26, ends="flush", simple_path=True, layer=68, datatype=20))  # met1
pfd.add(gdstk.FlexPath([(0.16,8.435),(0.16,8.405)], 0.26, ends="flush", simple_path=True, layer=68, datatype=20))  # met1
pfd.add(gdstk.FlexPath([(0.805,2.83),(0.835,2.83)], 0.4, ends=(0.2, 0), simple_path=True, layer=70, datatype=20))  # met3
pfd.add(gdstk.FlexPath([(0.805,11.12),(0.805,2.83)], 0.4, ends=(0, 0.2), simple_path=True, layer=70, datatype=20))  # met3
pfd.add(gdstk.FlexPath([(10.945,6.415),(10.945,4.46)], 0.3, ends=(0.15, 0), simple_path=True, layer=70, datatype=20))  # met3
pfd.add(gdstk.FlexPath([(10.945,9.495),(10.945,6.415)], 0.3, ends=(0, 0.15), simple_path=True, layer=70, datatype=20))  # met3
pfd.add(gdstk.FlexPath([(12.335,6.415),(10.945,6.415)], 0.3, ends=(0, 0.15), simple_path=True, layer=70, datatype=20))  # met3
pfd.add(gdstk.Reference(dffrx1_lp, (1.005,6.97), x_reflection=True))
pfd.add(gdstk.Reference(dffrx1_lp, (1.005,6.97)))
pfd.add(gdstk.Reference(nand2x1_lp, (15.51,9.03), rotation=pi))
pfd.add(gdstk.Reference(m1m2_c__1, (0.16,4.49)))
pfd.add(gdstk.Reference(m1m2_c__1, (0.16,9.445)))
pfd.add(gdstk.Reference(m1m2_c__1, (15.94,7.685)))
pfd.add(gdstk.Reference(m1m2_c__1, (15.945,7.1)))
pfd.add(gdstk.Reference(m1m2_c__1, (0.16,8.435)))
pfd.add(gdstk.Reference(m1m2_c__1, (2.385,8.435)))
pfd.add(gdstk.Reference(m1m2_c__1, (2.385,5.51)))
pfd.add(gdstk.Reference(m1m2_c__1, (2.385,4.49)))
pfd.add(gdstk.Reference(m1m2_c__1, (2.385,9.445)))
pfd.add(gdstk.Reference(m1m2_c__1, (13.67,6.415)))
pfd.add(gdstk.Reference(m1m2_c__1, (14.59,7.1)))
pfd.add(gdstk.Reference(m1m2_c__1, (9.285,5.34)))
pfd.add(gdstk.Reference(m1m2_c__1, (8.365,4.46)))
pfd.add(gdstk.Reference(m1m2_c__1, (9.285,8.59)))
pfd.add(gdstk.Reference(m1m2_c__2, (8.365,9.495)))
pfd.add(gdstk.Reference(m1m2_c__3, (14.115,7.685)))
pfd.add(gdstk.Reference(m2m3_c__4, (12.335,6.415)))
pfd.add(gdstk.Reference(m2m3_c__4, (10.945,4.46)))
pfd.add(gdstk.Reference(m2m3_c__4, (10.945,9.495)))
pfd.add(gdstk.Reference(m1m2_c__5, (0.805,11.11)))
pfd.add(gdstk.Reference(m1m2_c__6, (0.85,2.83)))
pfd.add(gdstk.Reference(m2m3_c__7, (0.805,11.12)))
pfd.add(gdstk.Reference(m2m3_c__8, (0.835,2.83)))
pfd.add(gdstk.Label('Qb', (15.955,6.955), layer=68, texttype=16))
pfd.add(gdstk.Label('Qa', (15.945,7.685), layer=68, texttype=16))
pfd.add(gdstk.Label('vfb', (0.16,4.48), layer=68, texttype=16))
pfd.add(gdstk.Label('VSS!', (0.12,6.965), layer=68, texttype=16))
pfd.add(gdstk.Label('vref', (0.155,9.445), layer=68, texttype=16))
pfd.add(gdstk.Label('vdd', (0.155,8.43), layer=68, texttype=16))
pfd.add(gdstk.Label('VDD!', (0.12,11.1), layer=68, texttype=16))

lib.write_gds('PFD.gds')
